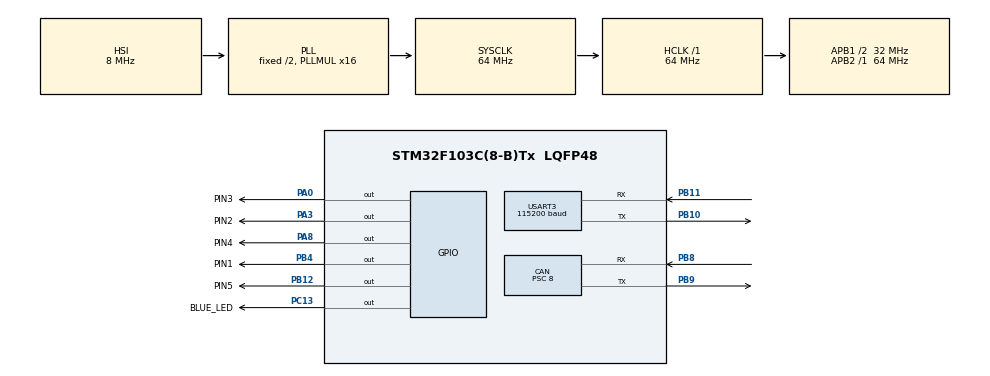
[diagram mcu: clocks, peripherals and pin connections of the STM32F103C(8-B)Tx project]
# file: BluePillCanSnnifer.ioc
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Mcu.Family=STM32F1
NVIC.USART3_IRQn=true\:0\:0\:false\:false\:true\:true\:true
PD1-OSC_OUT.Mode=HSE-External-Oscillator
PB10.Mode=Asynchronous
CAN.CalculateBaudRate=250000
PC13-TAMPER-RTC.Signal=GPIO_Output
RCC.USBPrescaler=RCC_USBCLKSOURCE_PLL_DIV1_5
PD0-OSC_IN.Signal=RCC_OSC_IN
RCC.APB1CLKDivider=RCC_HCLK_DIV2
PB11.Signal=USART3_RX
CAN.CalculateTimeBit=4000.00
RCC.SYSCLKSource=RCC_SYSCLKSOURCE_PLLCLK
ProjectManager.StackSize=0x400
PA0-WKUP.GPIO_Label=PIN3
PA0-WKUP.Signal=GPIO_Output
PD1-OSC_OUT.Signal=RCC_OSC_OUT
PA13.Signal=SYS_JTMS-SWDIO
CAN.BS2=CAN_BS2_2TQ
PA8.GPIO_Label=PIN4
CAN.Prescaler=8
CAN.BS1=CAN_BS1_13TQ
USART3.BaudRate=115200
PB11.Mode=Asynchronous
ProjectManager.TargetToolchain=STM32CubeIDE
RCC.HCLKFreq_Value=64000000
PB9.Mode=CAN_Activate
RCC.APB2TimFreq_Value=64000000
RCC.USBFreq_Value=42666666.666666664
RCC.AHBFreq_Value=64000000
PD0-OSC_IN.Mode=HSE-External-Oscillator
PB10.Signal=USART3_TX
board=custom
PC13-TAMPER-RTC.GPIO_Label=BLUE_LED
RCC.PLLMUL=RCC_PLL_MUL16
PB12.GPIO_Label=PIN5
RCC.APB2Freq_Value=64000000
PB4.GPIO_Label=PIN1
VP_TIM2_VS_ClockSourceINT.Mode=Internal
PA14.Mode=Serial_Wire
NVIC.USB_LP_CAN1_RX0_IRQn=true\:0\:0\:false\:false\:true\:true\:true
NVIC.TIM2_IRQn=true\:0\:0\:false\:false\:true\:true\:true
PA8.Signal=GPIO_Output
TIM2.Period=1000-1
PA13.Mode=Serial_Wire
Mcu.Name=STM32F103C(8-B)Tx
CAN.CalculateTimeQuantum=250.0
RCC.SYSCLKFreq_VALUE=64000000
Mcu.Package=LQFP48
PB9.Signal=CAN_TX
TIM2.Prescaler=32-1
USART3.VirtualMode=VM_ASYNC
PA14.Signal=SYS_JTCK-SWCLK
ProjectManager.HeapSize=0x200
NVIC.PriorityGroup=NVIC_PRIORITYGROUP_4
PB8.Mode=CAN_Activate
RCC.APB1TimFreq_Value=64000000
PB8.Signal=CAN_RX
RCC.APB1Freq_Value=32000000
PB12.Signal=GPIO_Output
PB4.Signal=GPIO_Output
PA3.GPIO_Label=PIN2
PA3.Signal=GPIO_Output

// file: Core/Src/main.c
/* USER CODE BEGIN Header */
/**
 ******************************************************************************
 * @file           : main.c
 * @brief          : Main program body
 ******************************************************************************
 * @attention
 *
 * <h2><center>&copy; Copyright (c) 2021 STMicroelectronics.
 * All rights reserved.</center></h2>
 *
 * This software component is licensed by ST under BSD 3-Clause license,
 * the "License"; You may not use this file except in compliance with the
 * License. You may obtain a copy of the License at:
 *                        opensource.org/licenses/BSD-3-Clause
 *
 ******************************************************************************
 */
/* USER CODE END Header */
#include "main.h"

/* USER CODE BEGIN Includes */
#include "stdio.h"
#include "string.h"
#include "cobs.h"
#include "cQueue.h"
/* USER CODE END Includes */

/* USER CODE BEGIN PTD */

#define SIZE_RX 30

typedef struct qCmd {
	uint8_t commnddBuff[SIZE_RX];
	uint8_t commandSize;
} EnueuedCommand;

typedef struct qCANMsg {
	uint8_t data[8];
	CAN_RxHeaderTypeDef header;
} EncuedCANMsg;

typedef enum {
	SNIFFER_STOPPED = 0x00, SNIFFER_ACTIVE = 0x01,
} SnifferAtivityStatus;

/* USER CODE END PTD */

/* USER CODE BEGIN PD */
#define	IMPLEMENTATION	FIFO
/* USER CODE END PD */

CAN_HandleTypeDef hcan;

TIM_HandleTypeDef htim2;

UART_HandleTypeDef huart3;

/* USER CODE BEGIN PV */

// CAN Callback variables
CAN_RxHeaderTypeDef rxMessageHeader;
uint8_t rxDataReceived[8];

// UART Callback variables
uint8_t rxUARTBuff[1] = { 0 };
uint8_t rxCommandBuff[SIZE_RX] = { 0 };
volatile uint8_t cursor = 0;
uint8_t decodedCommand[SIZE_RX] = { 0 };

#define CMD_QUEUE_SIZE 100
Queue_t commandQueue;
EnueuedCommand decuedComand;

#define CAN_MSSG_QUEUE_SIZE 100
Queue_t canMsgQueue;
EncuedCANMsg decuedCANMssg;

SnifferAtivityStatus snifferAtivityStatus = SNIFFER_STOPPED;

volatile uint32_t miliseconds = 0;

/* USER CODE END PV */

void SystemClock_Config(void);
static void MX_GPIO_Init(void);
static void MX_CAN_Init(void);
static void MX_USART3_UART_Init(void);
static void MX_TIM2_Init(void);
/* USER CODE BEGIN PFP */

int __io_putchar(int);
void blueLEDIndicator(void);
void blinkLed();
void processCANMsg(void);
void processComand(void);
void processBitRateCommand();
void processMessageComand(void);
void processLoopBackModeCommand(void);
void processRebootCommand(void);
void processActivitySniferComand();
void sendCANMDummyessage(void);
uint32_t sendCANMessage(uint8_t, uint32_t, bool, bool, uint8_t*);
void setCANFilterAcceptAll(void);
void setCANFilterAcceptSingleExtendedID(uint32_t, uint32_t);
void setCANFilterAcceptSingleStandardID(uint32_t,uint16_t);
void setSinfferCANFilterAcceptRange(uint8_t, uint32_t);
void setDatagramTypeIdentifer(uint32_t, uint32_t, uint8_t*, uint8_t*);
void setFormatedDatagramIdentifer(uint32_t, uint8_t*, uint8_t*, int);
void setDatagramIdentifer(CAN_RxHeaderTypeDef, uint8_t*, uint8_t*);
void setDLC(uint32_t, uint8_t*, uint8_t*);
void setData(uint8_t*, int, uint8_t*, uint8_t*);
uint8_t serializeDatagram(uint8_t*, CAN_RxHeaderTypeDef, uint8_t*);
void HAL_CAN_RxFifo0MsgPendingCallback(CAN_HandleTypeDef*);
void processCANMsg(void);
void HAL_UART_RxCpltCallback(UART_HandleTypeDef*);
void substr(char *str, char*, int, int);
int toInteger(uint8_t *stringToConvert, int len);
void HAL_TIM_PeriodElapsedCallback(TIM_HandleTypeDef *htim);
void generateDummyCANTraffic(uint32_t);
void sendCANStdDataDummyMessage(void);
void sendCANExtDataDummyMessage(void);
void sendCANStdRemoteDummyMessage(void);
void sendCANExtRemoteDummyMessage(void);
void ErrorAppHandler(void);
/* USER CODE END PFP */

/* USER CODE BEGIN 0 */

int __io_putchar(int ch) {
	HAL_UART_Transmit(&huart3, (uint8_t*) &ch, 1, 100);
	return ch;
}
#define NUMBER_BLINKS 20
void blueLEDIndicator(void) {
	int blinkCounter = 0;
	while (blinkCounter < NUMBER_BLINKS) {
		HAL_GPIO_TogglePin(BLUE_LED_GPIO_Port, BLUE_LED_Pin);
		HAL_GPIO_TogglePin(PIN2_GPIO_Port, PIN2_Pin);
		HAL_Delay(30);
		blinkCounter++;
	}
	HAL_GPIO_WritePin(BLUE_LED_GPIO_Port, BLUE_LED_Pin, GPIO_PIN_SET);
	HAL_GPIO_WritePin(PIN2_GPIO_Port, PIN2_Pin, GPIO_PIN_SET);
}

void ErrorAppHandler(void) {
	// Display something went wrong :(
	 blueLEDIndicator();
}
/**
 * @brief  Sends a dummy message over the CAN bus using the hcan handle
 * @param  none
 * @retval None
 */
void sendCANDummyMessage(void) {
	uint32_t TxMailbox;
	CAN_TxHeaderTypeDef pHeader;
	pHeader.DLC = 8; //give message size of 1 byte
	pHeader.IDE = CAN_ID_STD; //set identifier to standard
	pHeader.RTR = CAN_RTR_DATA; //set data type to remote transmission request?CAN_RTR_DATA
	pHeader.StdId = 0x200; //define a standard identifier, used for message identification by filters (switch this for the other microcontroller)
	//uint8_t messageLoadBuffer[8] = {'B','L','A','C','K','_','&','#'};
	uint8_t messageLoadBuffer[8] = { 42, 0x4c, 0x41, 0x43, 0x4b, 0x5f, 0x26,
			0x23 };
	if (HAL_CAN_AddTxMessage(&hcan, &pHeader, messageLoadBuffer, &TxMailbox)
			!= HAL_OK) {
		ErrorAppHandler();
	}
}
/**
 * @brief  Sends a CAN message through the CAN controller
 * @param  dlc: data length code (number of bytes of data to be sent)
 * @param  msgID: ID of the message to be sent
 * @param  isRTR: flag indicating if the message is a Remote Transmission Request (RTR)
 * @param  isStandard: flag indicating if the message ID is standard (11-bit) or extended (29-bit)
 * @param  data: pointer to the data to be sent
 * @retval TxMailbox: mailbox used for transmission
 */

uint32_t sendCANMessage(uint8_t dlc, uint32_t msgID, bool isRTR,
		bool isStandard, uint8_t *data) {

	uint32_t TxMailbox;
	CAN_TxHeaderTypeDef pHeader;
	pHeader.DLC = dlc;

	if (isStandard) {
		pHeader.IDE = CAN_ID_STD;
		pHeader.StdId = msgID;
	} else {
		pHeader.IDE = CAN_ID_EXT;
		pHeader.ExtId = msgID;
	}
	if (isRTR) {
		pHeader.RTR = CAN_RTR_REMOTE;
	} else {
		pHeader.RTR = CAN_RTR_DATA;
	}

	HAL_CAN_AddTxMessage(&hcan, &pHeader, data, &TxMailbox);
	return TxMailbox;
}
/**
 * @brief  Configures the CAN filter to accept all messages to the CAN_FIFO buffer
 * @param  None
 * @retval None
 */
void setCANFilterAcceptAll(void) {
	/* Default filter - accept all to CAN_FIFO*/
	CAN_FilterTypeDef sFilterConfig;
	sFilterConfig.FilterBank = 0;
	//sFilterConfig.FilterIdHigh = 0x00005;
	sFilterConfig.FilterBank = 0x0000;
	sFilterConfig.FilterMode = CAN_FILTERMODE_IDMASK;
	sFilterConfig.FilterScale = CAN_FILTERSCALE_32BIT;
	// Set Mask to all 0s to allow pass any messageID
	sFilterConfig.FilterMaskIdHigh = 0x0000;
	sFilterConfig.FilterMaskIdLow = 0x0000;
	sFilterConfig.FilterFIFOAssignment = CAN_FILTER_FIFO0;
	sFilterConfig.FilterActivation = ENABLE;
	if (HAL_CAN_ConfigFilter(&hcan, &sFilterConfig) != HAL_OK) {
		ErrorAppHandler();
	}
}

void setCANFilterAcceptSingleStandardID(uint32_t filterBank, uint16_t acceptedID){
	/* Default filter - accept all to CAN_FIFO*/
	CAN_FilterTypeDef sFilterConfig;
	sFilterConfig.FilterBank = 0;
	sFilterConfig.FilterBank = filterBank;
	sFilterConfig.FilterMode = CAN_FILTERMODE_IDMASK;
	sFilterConfig.FilterScale = CAN_FILTERSCALE_32BIT;
	sFilterConfig.FilterIdHigh = acceptedID << 5; //11-bit ID, in top bits 6= 16-11 bits
	sFilterConfig.FilterIdLow = 0x0000;
	sFilterConfig.FilterMaskIdHigh = 0x7FF << 5;
	sFilterConfig.FilterMaskIdLow = 0x0000;
	sFilterConfig.FilterFIFOAssignment = CAN_FILTER_FIFO0;
	sFilterConfig.FilterActivation = ENABLE;
	if (HAL_CAN_ConfigFilter(&hcan, &sFilterConfig) != HAL_OK) {
		ErrorAppHandler();
	}
}

void setCANFilterAcceptSingleExtendedID(uint32_t filterBank, uint32_t acceptedID){
	uint16_t low16bits = acceptedID & 0xFFFF;
	uint16_t high16Bits = (acceptedID >> 16) & 0xFFFF;
    /* Default filter - accept all to CAN_FIFO*/
	CAN_FilterTypeDef sFilterConfig;
	sFilterConfig.FilterBank = 0;
	sFilterConfig.FilterBank = filterBank;
	sFilterConfig.FilterMode = CAN_FILTERMODE_IDMASK;
	sFilterConfig.FilterScale = CAN_FILTERSCALE_32BIT;
	sFilterConfig.FilterIdHigh = high16Bits;
	sFilterConfig.FilterIdLow = low16bits << 3; //11-bit ID, in top bits 3=(32-29)
	sFilterConfig.FilterMaskIdHigh = 0xFFFF;
	sFilterConfig.FilterMaskIdLow = 0xFFF8;
	sFilterConfig.FilterFIFOAssignment = CAN_FILTER_FIFO0;
	sFilterConfig.FilterActivation = ENABLE;
	if (HAL_CAN_ConfigFilter(&hcan, &sFilterConfig) != HAL_OK) {
		ErrorAppHandler();
	}
}

/**
 * setDatagramTypeIdentifier
 *
 * @brief sets the type identifier of a CAN (Controller Area Network) datagram
 *
 * This function takes in four parameters:
 * - ide: an unsigned 32-bit integer representing the ID format of the datagram (either CAN_ID_STD for standard ID format or CAN_ID_EXT for extended ID format)
 * - rtr: an unsigned 32-bit integer representing the type of the datagram (either CAN_RTR_DATA for data frame or CAN_RTR_REMOTE for remote frame)
 * - pExitBuffer: a pointer to the buffer where the datagram will be stored
 * - pCursor: a pointer to an integer representing the current position of the cursor in the buffer
 *
 * The function first checks the value of ide to determine whether the datagram uses a standard or extended ID format.
 * If ide is CAN_ID_STD, the function checks the value of rtr to determine whether the datagram is a data or remote frame.
 * If rtr is CAN_RTR_DATA, the function sets the first byte of the datagram to 't' and if rtr is CAN_RTR_REMOTE,
 * the function sets the first byte of the datagram to 'r'.
 *
 * If ide is CAN_ID_EXT, the function again checks the value of rtr to determine whether the datagram is a data or remote frame.
 * If rtr is CAN_RTR_DATA, the function sets the first byte of the datagram to 'T' and if rtr is CAN_RTR_REMOTE,
 * the function sets the first byte of the datagram to 'R'.
 *
 * Finally, the function increments the cursor position by 1.
 *
 * @param ide - unsigned 32-bit int, representing the ID format of the datagram
 * @param rtr - unsigned 32-bit int, representing the type of the datagram
 * @param pExitBuffer - pointer to the buffer where the datagram will be stored
 * @param pCursor - pointer to an integer representing the current position of the cursor in the buffer
 *
 * @return void
 */
void setDatagramTypeIdentifer(uint32_t ide, uint32_t rtr, uint8_t *pExitBuffer,
		uint8_t *pCursor) {
	if (ide == CAN_ID_STD) {
		if (rtr == CAN_RTR_DATA) {
			pExitBuffer[*pCursor] = 't';
		} else if (rtr == CAN_RTR_REMOTE) {
			pExitBuffer[*pCursor] = 'r';
		}
	} else if (ide == CAN_ID_EXT) {

		if (rtr == CAN_RTR_DATA) {
			pExitBuffer[*pCursor] = 'T';
		} else if (rtr == CAN_RTR_REMOTE) {
			pExitBuffer[*pCursor] = 'R';
		}
	}
	*pCursor = *pCursor + 1;
}
/**
* @brief  Formats a given ID number and copies it to a buffer at a specific cursor position
* @param  idNum: the ID number to be formatted and copied
* @param  pExitBuffer: pointer to the buffer where the formatted ID will be copied
* @param  pCursor: pointer to the cursor position in the buffer
* @param  len: the desired length of the formatted ID
* @retval None
*/
void setFormatedDatagramIdentifer(uint32_t idNum, uint8_t *pExitBuffer,uint8_t *pCursor, int len) {

	char *id = (char*) malloc(sizeof(char) * (len + 1));
	int numOfDigits = 0;
	int valueToConsume = idNum;

	while (valueToConsume != 0) {
		valueToConsume /= 10;     // n = n/10
		++numOfDigits;
	}

	sprintf(id + (len - numOfDigits), "%d", (int) idNum);
	for (int eraser = 0; eraser < (len - numOfDigits); eraser++) {
		id[eraser] = '0';
	}
	memcpy((char*) pExitBuffer + *pCursor, id, strlen(id)+1);
	free(id);
	*pCursor = *pCursor + len;
}
/**
* @brief  Extracts the ID of a received CAN message and formats it to a desired length, then copies it to
*         a buffer at a specific cursor position
* @param  receivedCANHeader: the header of the received CAN message, containing the ID of the message
* @param  pExitBuffer: pointer to the buffer where the formatted ID will be copied
* @param  pCursor: pointer to the cursor position in the buffer
* @retval None
*/
void setDatagramIdentifer(CAN_RxHeaderTypeDef receivedCANHeader,
		uint8_t *pExitBuffer, uint8_t *pCursor) {
	if (receivedCANHeader.IDE == CAN_ID_EXT) {
		setFormatedDatagramIdentifer(receivedCANHeader.ExtId, pExitBuffer,
				pCursor, 9);
	}
	if (receivedCANHeader.IDE == CAN_ID_STD) {
		setFormatedDatagramIdentifer(receivedCANHeader.StdId, pExitBuffer,
				pCursor, 4);

	}
}
/**
 * @brief  Formats and copies the data length code (DLC) of a received CAN message to a buffer at a specific cursor position
 * @param  dlc: the data length code of the received message
 * @param  pExitBuffer: pointer to the buffer where the DLC will be copied
 * @param  pCursor: pointer to the cursor position in the buffer
 * @retval None
 */
void setDLC(uint32_t dlc, uint8_t *pExitBuffer, uint8_t *pCursor) {
    sprintf((char*) pExitBuffer + *pCursor, "%d", (int) dlc);
	*pCursor = *pCursor + 1;
}
/**
 * @brief  Copy data from source to destination buffer at specific cursor position
 * @param  data: pointer to the source data
 * @param  dlc: data length code
 * @param  pExitBuffer: pointer to the destination buffer
 * @param  pCursor: pointer to the cursor position in the destination buffer
 * @retval None
 */
void setData(uint8_t *data, int dlc, uint8_t *pExitBuffer, uint8_t *pCursor) {
	for (int counter = 0; counter < dlc; counter++) {
		pExitBuffer[*pCursor + counter] = data[counter];
	}
	*pCursor = *pCursor + dlc;
}
/**
 * @brief Serialize a CAN datagram and store it in a buffer
 * @param pExitBuffer: pointer to the buffer where the serialized datagram will be stored
 * @param receivedCANHeader: struct containing the header information of the received CAN message
 * @param rxData: pointer to the received data payload
 * @retval cursor: the final position of the cursor in the buffer
 */
uint8_t serializeDatagram(uint8_t *pExitBuffer,
		CAN_RxHeaderTypeDef receivedCANHeader, uint8_t *rxData) {

	uint8_t cursor = 0;
	setDatagramTypeIdentifer(receivedCANHeader.IDE, receivedCANHeader.RTR,
			pExitBuffer, &cursor);
	setDatagramIdentifer(receivedCANHeader, pExitBuffer, &cursor);
	setDLC(receivedCANHeader.DLC, pExitBuffer, &cursor);
	if (receivedCANHeader.RTR == CAN_RTR_DATA) {
		setData(rxData, receivedCANHeader.DLC, pExitBuffer, &cursor);
	}

	return cursor;
}

#define ZERO_BYTE '0x00'

/**
 * @brief Interrupt callback function for CAN RX FIFO0 message pending. For each received Messsge a new
 *        EncuedCANMsg is created and stored in the Queue to be processed when corresponding
 * @param hcan: pointer to the CAN handle
 * @retval None
 */
void HAL_CAN_RxFifo0MsgPendingCallback(CAN_HandleTypeDef *hcan) {
	if (HAL_CAN_GetRxMessage(hcan, CAN_RX_FIFO0, &rxMessageHeader,rxDataReceived) == HAL_OK) {
		HAL_GPIO_TogglePin(PIN3_GPIO_Port, PIN3_Pin);
		EncuedCANMsg msg;
		msg.header = rxMessageHeader;
		memcpy((char*) msg.data, (char*) rxDataReceived,rxMessageHeader.DLC);
		q_push(&canMsgQueue, &msg);
	} else {
		ErrorAppHandler();
	}

}
/**
 * @brief Process a received CAN message extracted from the Queue serializing it and then
 *        applying COBS encoding to sent it using UART
 * @retval None
 */
void processCANMsg() {

	uint8_t parsedDatagram[24] = { 0 };
	uint8_t lenParsed = serializeDatagram(parsedDatagram, decuedCANMssg.header,
			decuedCANMssg.data);

	uint8_t encodedDatagram[24] = { 0 };
	cobs_encode_result result = cobs_encode(encodedDatagram, 24, parsedDatagram,
			lenParsed + 1);

	if (result.status == COBS_ENCODE_OK) {
		// Append Zero byte to delimiter frame boundary
		encodedDatagram[result.out_len + 1] = 0x00;
		HAL_UART_Transmit(&huart3, encodedDatagram, result.out_len + 1, 50);

		// Toggle monitoring line to indicate a successful datagram retransmission
		HAL_GPIO_TogglePin(PIN2_GPIO_Port, PIN2_Pin);
	}
}

#define NUMBER_BOOT_BLINKS 5

void blinkLed() {
	int blinkCounter = 0;
	while (blinkCounter < NUMBER_BOOT_BLINKS) {
		HAL_GPIO_TogglePin(BLUE_LED_GPIO_Port, BLUE_LED_Pin);
		HAL_Delay(50);
		blinkCounter++;
	}
	HAL_GPIO_WritePin(BLUE_LED_GPIO_Port, BLUE_LED_Pin, GPIO_PIN_SET);
}
/**
 * @brief Interrupt callback function for UART RX Complete event. each time a new bute is recived is
 *        processed and stored inside rxCommandBuff until the last character is received and then the
 *        rxCommandBuff is used t create a new EnueuedCommand that is stored ant te Queue pending to
 *        be processed.
 * @param huart: pointer to the UART handle
 * @retval None
 */
void HAL_UART_RxCpltCallback(UART_HandleTypeDef *huart) {
	if (huart->Instance == huart3.Instance) {
		HAL_GPIO_TogglePin(PIN1_GPIO_Port, PIN1_Pin);
		rxCommandBuff[cursor] = rxUARTBuff[0];
		cursor++;
		if (cursor >= SIZE_RX) {
			cursor = 0;
		}
		if (rxUARTBuff[0] == 0x00) {
			EnueuedCommand pendingCmd;
			memcpy((char*) pendingCmd.commnddBuff, (char*) rxCommandBuff, cursor);
			pendingCmd.commandSize = cursor - 1;
			if (!q_isFull(&commandQueue)) {
				q_push(&commandQueue, &pendingCmd);
			}
			cursor = 0;
			HAL_GPIO_TogglePin(PIN2_GPIO_Port, PIN2_Pin);
		}
		// Enable interrupt for again to be able to continue receiving data
		HAL_UART_Receive_IT(&huart3, rxUARTBuff, 1);
	}

}
/**
 * @brief Extracts a substring from a string
 * @param str: pointer to the original string
 * @param sub: pointer to the substring buffer
 * @param start: starting index of the substring
 * @param len: length of the substring
 * @retval None
 */
void substr(char *str, char *sub, int start, int len) {
	memcpy(sub, &str[start], len);
	sub[len] = '\0';
}
/**
 * @brief Converts a string of digits to an integer
 * @param stringToConvert: pointer to the string of digits
 * @param len: length of the string
 * @retval The integer value of the string
 */
int toInteger(uint8_t *stringToConvert, int len) {
	int counter = len - 1;
	int exp = 1;
	int value = 0;
	while (counter >= 0) {
		value = value + (stringToConvert[counter] - '0') * exp;
		exp = exp * 10;
		counter--;
	}
	return value;
}
/**
 * @brief Process each Message command received from  the UART interface and
 *        send the apropiate CAN Message.
 * @retval None
 * @retval None
 */
void processMessageComand() {
	uint8_t cursor = 1;

	if (decodedCommand[cursor] == 'T') {
		cursor++;
		uint8_t messageID_str[9];
		substr((char*) decodedCommand, (char*) messageID_str, cursor, 9);

		int msgID = toInteger(messageID_str, 9);
		cursor += 9;

		uint8_t dlc_str[1];
		substr((char*) decodedCommand, (char*) dlc_str, cursor, 1);
		uint8_t dlc = atoi((char*) dlc_str);

		cursor++;
		uint8_t data[8];
		substr((char*) decodedCommand, (char*) data, cursor, 8);

		sendCANMessage(dlc, msgID, false, false, data);

	} else if (decodedCommand[cursor] == 'R') {
		cursor++;
		uint8_t messageID_str[9];
		substr((char*) decodedCommand, (char*) messageID_str, cursor, 9);

		int msgID = toInteger(messageID_str, 9);
		cursor += 9;

		uint8_t dlc_str[1];
		substr((char*) decodedCommand, (char*) dlc_str, cursor, 1);
		uint8_t dlc = toInteger(dlc_str, 1);

		sendCANMessage(dlc, msgID, true, false, 0x00);
	} else if (decodedCommand[cursor] == 't') {
		cursor++;
		uint8_t messageID_str[4];
		substr((char*) decodedCommand, (char*) messageID_str, cursor, 4);
		int msgID = toInteger(messageID_str, 4);
		cursor += 4;

		uint8_t dlc_str[1];
		substr((char*) decodedCommand, (char*) dlc_str, cursor, 1);
		uint8_t dlc = toInteger(dlc_str, 1);

		cursor++;
		uint8_t data[8];
		substr((char*) decodedCommand, (char*) data, cursor, 8);

		sendCANMessage(dlc, msgID, false, true, data);

	} else if (decodedCommand[cursor] == 'r') {
		cursor++;
		uint8_t messageID_str[4];
		substr((char*) decodedCommand, (char*) messageID_str, cursor, 4);
		int msgID = toInteger(messageID_str, 4);
		cursor += 4;

		uint8_t dlc_str[1];
		substr((char*) decodedCommand, (char*) dlc_str, cursor, 1);
		uint8_t dlc = atoi((char*) dlc_str);

		sendCANMessage(dlc, msgID, true, true, 0x00);
	}

}

void processBitRateCommand() {
	uint8_t bitrateSrt[3];
	substr((char*) decodedCommand, (char*) bitrateSrt, 1, 3);
	int bitRate = toInteger(bitrateSrt, 3);

	bool idetified = false;

	switch (bitRate) {
	case 10:
		hcan.Init.Prescaler = 200;
		idetified = true;
		break;
	case 20:
		hcan.Init.Prescaler = 100;
		idetified = true;
		break;
	case 50:
		hcan.Init.Prescaler = 40;
		idetified = true;
		break;
	case 100:
		hcan.Init.Prescaler = 20;
		idetified = true;
		break;
	case 125:
		hcan.Init.Prescaler = 16;
		idetified = true;
		break;
	case 250:
		hcan.Init.Prescaler = 8;
		idetified = true;
		break;
	case 500:
		hcan.Init.Prescaler = 4;
		idetified = true;
		break;
	case 1000:
		hcan.Init.Prescaler = 2;
		idetified = true;
		break;
	}
	if (idetified) {
		if (HAL_CAN_DeInit(&hcan) != HAL_OK) {
			ErrorAppHandler();
		}
		if (HAL_CAN_Init(&hcan) != HAL_OK) {
			ErrorAppHandler();
		}
		setCANFilterAcceptAll();
		if (HAL_CAN_Start(&hcan) != HAL_OK) {
			ErrorAppHandler();
		}
		if (snifferAtivityStatus != SNIFFER_STOPPED) {
			if (HAL_CAN_ActivateNotification(&hcan, CAN_IT_RX_FIFO0_MSG_PENDING)
					!= HAL_OK) {
				ErrorAppHandler();
			}
		}
	}
}

void processLoopBackModeCommand() {
	uint8_t mode[2];
	bool idetified = false;
	substr((char*) decodedCommand, (char*) mode, 1, 2);
	if (!strcmp((char*) mode, "LB")) {
		hcan.Init.Mode = CAN_MODE_LOOPBACK;
		idetified = true;
	} else if (!strcmp((char*) mode, "SM")) {
		hcan.Init.Mode = CAN_MODE_SILENT;
		idetified = true;
	} else if (!strcmp((char*) mode, "NM")) {
		hcan.Init.Mode = CAN_MODE_NORMAL;
		idetified = true;
	} else if (!strcmp((char*) mode, "SL")) {
		hcan.Init.Mode = CAN_MODE_SILENT_LOOPBACK;
		idetified = true;
	}
	if (idetified) {
		if (HAL_CAN_DeInit(&hcan) != HAL_OK) {
			ErrorAppHandler();
		}
		if (HAL_CAN_Init(&hcan) != HAL_OK) {
			ErrorAppHandler();
		}
		setCANFilterAcceptAll();
		if (HAL_CAN_Start(&hcan) != HAL_OK) {
			ErrorAppHandler();
		}
		if (snifferAtivityStatus != SNIFFER_STOPPED) {
			if (HAL_CAN_ActivateNotification(&hcan, CAN_IT_RX_FIFO0_MSG_PENDING)
					!= HAL_OK) {
				ErrorAppHandler();
			}
		}
	}
}

void processActivitySniferComand() {
	uint8_t activityMode[2];
	substr((char*) decodedCommand, (char*) activityMode, 1, 3);
	if (!strcmp((char*) activityMode, "ON_")) {
		if (HAL_CAN_ActivateNotification(&hcan, CAN_IT_RX_FIFO0_MSG_PENDING) != HAL_OK) {
			ErrorAppHandler();
		}
		snifferAtivityStatus = SNIFFER_ACTIVE;
	}
	else if (!strcmp((char*) activityMode, "OFF")) {
		snifferAtivityStatus = SNIFFER_STOPPED;
		if (HAL_CAN_DeactivateNotification(&hcan, CAN_IT_RX_FIFO0_MSG_PENDING) != HAL_OK) {
			ErrorAppHandler();
		}
	}
}
void processFilterCommand(){
	uint8_t  cursor = 1;
	uint8_t  idType[1];
	uint8_t  filterBankStr[2];
	substr((char*) decodedCommand, (char*) idType, cursor, 1);
	// We have a filter for Standard IDs
	if (!strcmp((char*) idType, "S")) {
		cursor += 1;
		substr((char*) decodedCommand, (char*) filterBankStr, cursor, 2);
		cursor += 2;
		int filterBank = toInteger(filterBankStr, 2);
		uint8_t messageID_str[4];
		substr((char*) decodedCommand, (char*) messageID_str, cursor, 4);
		int msgID = toInteger(messageID_str, 4);
		setCANFilterAcceptSingleStandardID(filterBank, msgID);

	}
	// We have a filter for Extended IDs
	else if (!strcmp((char*) idType, "E")) {
		cursor += 1;
		substr((char*) decodedCommand, (char*) filterBankStr, cursor, 2);
		int filterBank = toInteger(filterBankStr, 2);
		cursor += 2;
		uint8_t messageID_str[9];
		substr((char*) decodedCommand, (char*) messageID_str, cursor, 9);
		int msgID = toInteger(messageID_str, 9);
		setCANFilterAcceptSingleExtendedID(filterBank, msgID);
	}
	else {
		return;
	}
}

void processRebootCommand() {
	NVIC_SystemReset();
}

void processComand(void) {

	cobs_decode_result resutlt = cobs_decode(decodedCommand, 20,
			decuedComand.commnddBuff, decuedComand.commandSize);

	if (resutlt.status == COBS_DECODE_OK) {

		if (decodedCommand[0] == 'A') {
			// Change
			processActivitySniferComand();
		}
		if (decodedCommand[0] == 'M') {
			// Send a datagram to the CAN Bus
			processMessageComand();
		} else if (decodedCommand[0] == 'S') {
			// Change bit rate
			processBitRateCommand();
		} else if (decodedCommand[0] == 'N') {
			// Change Mode
			processLoopBackModeCommand();
		}	// Reboot Snifer
		else if (decodedCommand[0] == 'F') {
			processFilterCommand();
		}
		else if (decodedCommand[0] == 'R') {
			processRebootCommand();
		}
	}
}
void HAL_TIM_PeriodElapsedCallback(TIM_HandleTypeDef *htim) {
	if (htim->Instance == TIM2) {
		miliseconds++;
		if (snifferAtivityStatus == SNIFFER_STOPPED) {
			HAL_GPIO_TogglePin(PIN4_GPIO_Port, PIN4_Pin);
		}
	}
}

void sendCANStdDataDummyMessage(void){
	uint8_t messageLoadBuffer[8] = {'S','T','D','_','D','A','T','A'};
	sendCANMessage(8, 200, false,true, messageLoadBuffer);
}
void sendCANExtDataDummyMessage(void){
	uint8_t messageLoadBuffer[8] = {'E','X','T','_','D','A','T','A'};
	//uint8_t messageLoadBuffer[8] ={42,0x4c,0x41,0x43,0x4b,0x5f,0x26,0x23};
	sendCANMessage(8,300, false,false, messageLoadBuffer);
}
void sendCANStdRemoteDummyMessage(void){
	sendCANMessage(0,400, true,true, NULL);

}
void sendCANExtRemoteDummyMessage(void){
	sendCANMessage(0,500, true,false, NULL);
}

void generateDummyCANTraffic(uint32_t delay){
	sendCANStdDataDummyMessage();
	HAL_Delay(delay);
	sendCANExtDataDummyMessage();
	HAL_Delay(delay);
	sendCANStdRemoteDummyMessage();
	HAL_Delay(delay);
	sendCANExtRemoteDummyMessage();
	HAL_Delay(delay);
}

/* USER CODE END 0 */

int main(void)
{

  /* MCU Configuration--------------------------------------------------------*/

  /* Reset of all peripherals, Initializes the Flash interface and the Systick. */
  HAL_Init();

  /* Configure the system clock */
  SystemClock_Config();

  /* Initialize all configured peripherals */
  MX_GPIO_Init();
  MX_CAN_Init();
  MX_USART3_UART_Init();
  MX_TIM2_Init();
  /* USER CODE BEGIN 2 */
	// Enable interrupt for to be able to receiving data via UART
	HAL_UART_Receive_IT(&huart3, rxUARTBuff, 1);
	// Set CAN Filter to receive all messages
	setCANFilterAcceptAll();
	HAL_CAN_Start(&hcan);
	if (snifferAtivityStatus != SNIFFER_STOPPED) {
		HAL_CAN_ActivateNotification(&hcan, CAN_IT_RX_FIFO0_MSG_PENDING);
	}
	// Initialize EncuedCANMsg
	q_init(&canMsgQueue, sizeof(EncuedCANMsg), CAN_MSSG_QUEUE_SIZE,
			IMPLEMENTATION, false);
	// Initialize EnueuedCommand
	q_init(&commandQueue, sizeof(EnueuedCommand), CMD_QUEUE_SIZE,
			IMPLEMENTATION, true);
	// Displays we are starting the main loop
	blueLEDIndicator();
	HAL_TIM_Base_Start_IT(&htim2);
  /* USER CODE END 2 */

  /* Infinite loop */
	while (1) {

    /* USER CODE BEGIN 3 */

		// Use this function to make it a a dummy traffic generator
		//generateDummyCANTraffic(10);

		if (q_pop(&commandQueue, &decuedComand)) {
			processComand();
		}
		if (q_pop(&canMsgQueue, &decuedCANMssg)) {
			processCANMsg();
		}

	}
  /* USER CODE END 3 */
}

void SystemClock_Config(void)
{
  RCC_OscInitTypeDef RCC_OscInitStruct = {0};
  RCC_ClkInitTypeDef RCC_ClkInitStruct = {0};

  /** Initializes the RCC Oscillators according to the specified parameters
  * in the RCC_OscInitTypeDef structure.
  */
  RCC_OscInitStruct.OscillatorType = RCC_OSCILLATORTYPE_HSI;
  RCC_OscInitStruct.HSIState = RCC_HSI_ON;
  RCC_OscInitStruct.HSICalibrationValue = RCC_HSICALIBRATION_DEFAULT;
  RCC_OscInitStruct.PLL.PLLState = RCC_PLL_ON;
  RCC_OscInitStruct.PLL.PLLSource = RCC_PLLSOURCE_HSI_DIV2;
  RCC_OscInitStruct.PLL.PLLMUL = RCC_PLL_MUL16;
  if (HAL_RCC_OscConfig(&RCC_OscInitStruct) != HAL_OK)
  {
    Error_Handler();
  }
  /** Initializes the CPU, AHB and APB buses clocks
  */
  RCC_ClkInitStruct.ClockType = RCC_CLOCKTYPE_HCLK|RCC_CLOCKTYPE_SYSCLK
                              |RCC_CLOCKTYPE_PCLK1|RCC_CLOCKTYPE_PCLK2;
  RCC_ClkInitStruct.SYSCLKSource = RCC_SYSCLKSOURCE_PLLCLK;
  RCC_ClkInitStruct.AHBCLKDivider = RCC_SYSCLK_DIV1;
  RCC_ClkInitStruct.APB1CLKDivider = RCC_HCLK_DIV2;
  RCC_ClkInitStruct.APB2CLKDivider = RCC_HCLK_DIV1;

  if (HAL_RCC_ClockConfig(&RCC_ClkInitStruct, FLASH_LATENCY_2) != HAL_OK)
  {
    Error_Handler();
  }
}

static void MX_CAN_Init(void)
{

  hcan.Instance = CAN1;
  hcan.Init.Prescaler = 8;
  hcan.Init.Mode = CAN_MODE_NORMAL;
  hcan.Init.SyncJumpWidth = CAN_SJW_1TQ;
  hcan.Init.TimeSeg1 = CAN_BS1_13TQ;
  hcan.Init.TimeSeg2 = CAN_BS2_2TQ;
  hcan.Init.TimeTriggeredMode = DISABLE;
  hcan.Init.AutoBusOff = DISABLE;
  hcan.Init.AutoWakeUp = DISABLE;
  hcan.Init.AutoRetransmission = DISABLE;
  hcan.Init.ReceiveFifoLocked = DISABLE;
  hcan.Init.TransmitFifoPriority = DISABLE;
  if (HAL_CAN_Init(&hcan) != HAL_OK)
  {
    Error_Handler();
  }

}

static void MX_TIM2_Init(void)
{

  TIM_ClockConfigTypeDef sClockSourceConfig = {0};
  TIM_MasterConfigTypeDef sMasterConfig = {0};

  htim2.Instance = TIM2;
  htim2.Init.Prescaler = 32-1;
  htim2.Init.CounterMode = TIM_COUNTERMODE_UP;
  htim2.Init.Period = 1000-1;
  htim2.Init.ClockDivision = TIM_CLOCKDIVISION_DIV1;
  htim2.Init.AutoReloadPreload = TIM_AUTORELOAD_PRELOAD_DISABLE;
  if (HAL_TIM_Base_Init(&htim2) != HAL_OK)
  {
    Error_Handler();
  }
  sClockSourceConfig.ClockSource = TIM_CLOCKSOURCE_INTERNAL;
  if (HAL_TIM_ConfigClockSource(&htim2, &sClockSourceConfig) != HAL_OK)
  {
    Error_Handler();
  }
  sMasterConfig.MasterOutputTrigger = TIM_TRGO_RESET;
  sMasterConfig.MasterSlaveMode = TIM_MASTERSLAVEMODE_DISABLE;
  if (HAL_TIMEx_MasterConfigSynchronization(&htim2, &sMasterConfig) != HAL_OK)
  {
    Error_Handler();
  }

}

static void MX_USART3_UART_Init(void)
{

  huart3.Instance = USART3;
  huart3.Init.BaudRate = 115200;
  huart3.Init.WordLength = UART_WORDLENGTH_8B;
  huart3.Init.StopBits = UART_STOPBITS_1;
  huart3.Init.Parity = UART_PARITY_NONE;
  huart3.Init.Mode = UART_MODE_TX_RX;
  huart3.Init.HwFlowCtl = UART_HWCONTROL_NONE;
  huart3.Init.OverSampling = UART_OVERSAMPLING_16;
  if (HAL_UART_Init(&huart3) != HAL_OK)
  {
    Error_Handler();
  }

}

static void MX_GPIO_Init(void)
{
  GPIO_InitTypeDef GPIO_InitStruct = {0};

  /* GPIO Ports Clock Enable */
  __HAL_RCC_GPIOC_CLK_ENABLE();
  __HAL_RCC_GPIOD_CLK_ENABLE();
  __HAL_RCC_GPIOA_CLK_ENABLE();
  __HAL_RCC_GPIOB_CLK_ENABLE();

  /*Configure GPIO pin Output Level */
  HAL_GPIO_WritePin(BLUE_LED_GPIO_Port, BLUE_LED_Pin, GPIO_PIN_RESET);

  /*Configure GPIO pin Output Level */
  HAL_GPIO_WritePin(GPIOA, PIN3_Pin|PIN2_Pin|PIN4_Pin, GPIO_PIN_RESET);

  /*Configure GPIO pin Output Level */
  HAL_GPIO_WritePin(GPIOB, PIN5_Pin|PIN1_Pin, GPIO_PIN_RESET);

  /*Configure GPIO pin : BLUE_LED_Pin */
  GPIO_InitStruct.Pin = BLUE_LED_Pin;
  GPIO_InitStruct.Mode = GPIO_MODE_OUTPUT_PP;
  GPIO_InitStruct.Pull = GPIO_NOPULL;
  GPIO_InitStruct.Speed = GPIO_SPEED_FREQ_LOW;
  HAL_GPIO_Init(BLUE_LED_GPIO_Port, &GPIO_InitStruct);

  /*Configure GPIO pins : PIN3_Pin PIN2_Pin PIN4_Pin */
  GPIO_InitStruct.Pin = PIN3_Pin|PIN2_Pin|PIN4_Pin;
  GPIO_InitStruct.Mode = GPIO_MODE_OUTPUT_PP;
  GPIO_InitStruct.Pull = GPIO_NOPULL;
  GPIO_InitStruct.Speed = GPIO_SPEED_FREQ_LOW;
  HAL_GPIO_Init(GPIOA, &GPIO_InitStruct);

  /*Configure GPIO pins : PIN5_Pin PIN1_Pin */
  GPIO_InitStruct.Pin = PIN5_Pin|PIN1_Pin;
  GPIO_InitStruct.Mode = GPIO_MODE_OUTPUT_PP;
  GPIO_InitStruct.Pull = GPIO_NOPULL;
  GPIO_InitStruct.Speed = GPIO_SPEED_FREQ_LOW;
  HAL_GPIO_Init(GPIOB, &GPIO_InitStruct);

}

void Error_Handler(void)
{
  /* USER CODE BEGIN Error_Handler_Debug */
	/* User can add his own implementation to report the HAL error return state */
	__disable_irq();
	while (1) {
		asm("NOP");
	}
  /* USER CODE END Error_Handler_Debug */
}

/************************ (C) COPYRIGHT STMicroelectronics *****END OF FILE****/
